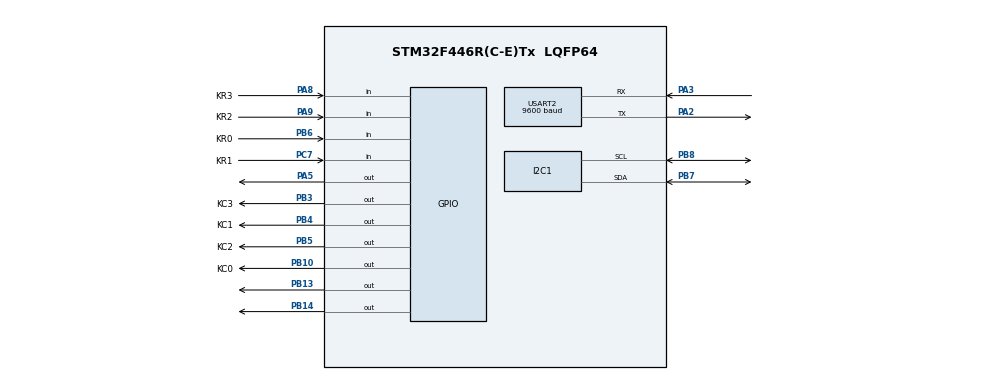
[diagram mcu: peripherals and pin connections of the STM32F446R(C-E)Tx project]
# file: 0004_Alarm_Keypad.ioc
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I2C1.I2C_Mode=I2C_Fast
Mcu.Family=STM32F4
Mcu.Name=STM32F446R(C-E)Tx
Mcu.Package=LQFP64
NVIC.PriorityGroup=NVIC_PRIORITYGROUP_0
NVIC.TIM6_DAC_IRQn=true\:0\:0\:false\:false\:true\:false\:true\:true
NVIC.TimeBase=TIM6_DAC_IRQn
NVIC.TimeBaseIP=TIM6
PA13.Mode=Serial_Wire
PA13.Signal=SYS_JTMS-SWDIO
PA14.Mode=Serial_Wire
PA14.Signal=SYS_JTCK-SWCLK
PA2.Mode=Asynchronous
PA2.Signal=USART2_TX
PA3.Mode=Asynchronous
PA3.Signal=USART2_RX
PA5.Signal=GPIO_Output
PA8.GPIO_Label=KR3
PA8.GPIO_PuPd=GPIO_PULLDOWN
PA8.Signal=GPIO_Input
PA9.GPIO_Label=KR2
PA9.GPIO_PuPd=GPIO_PULLDOWN
PA9.Signal=GPIO_Input
PB10.GPIO_Label=KC0
PB10.Signal=GPIO_Output
PB13.Signal=GPIO_Output
PB14.Signal=GPIO_Output
PB3.GPIO_Label=KC3
PB3.Signal=GPIO_Output
PB4.GPIO_Label=KC1
PB4.Signal=GPIO_Output
PB5.GPIO_Label=KC2
PB5.Signal=GPIO_Output
PB6.GPIO_Label=KR0
PB6.GPIO_PuPd=GPIO_PULLDOWN
PB6.Signal=GPIO_Input
PB7.Mode=I2C
PB7.Signal=I2C1_SDA
PB8.Mode=I2C
PB8.Signal=I2C1_SCL
PC14-OSC32_IN.Mode=LSE-External-Oscillator
PC14-OSC32_IN.Signal=RCC_OSC32_IN
PC15-OSC32_OUT.Mode=LSE-External-Oscillator
PC15-OSC32_OUT.Signal=RCC_OSC32_OUT
PC7.GPIO_Label=KR1
PC7.GPIO_PuPd=GPIO_PULLDOWN
PC7.Signal=GPIO_Input
PH0-OSC_IN.Mode=HSE-External-Oscillator
PH0-OSC_IN.Signal=RCC_OSC_IN
PH1-OSC_OUT.Mode=HSE-External-Oscillator
PH1-OSC_OUT.Signal=RCC_OSC_OUT
ProjectManager.HeapSize=0x200
ProjectManager.StackSize=0x400
ProjectManager.TargetToolchain=STM32CubeIDE
RCC.48MHZClocksFreq_Value=84000000
RCC.AHBFreq_Value=84000000
RCC.APB1CLKDivider=RCC_HCLK_DIV2
RCC.APB1Freq_Value=42000000
RCC.APB1TimFreq_Value=84000000
RCC.APB2Freq_Value=84000000
RCC.APB2TimFreq_Value=84000000
RCC.CortexFreq_Value=84000000
RCC.FLatency-AdvancedSettings=FLASH_LATENCY_2
RCC.HCLKFreq_Value=84000000
RCC.HSE_VALUE=8000000
RCC.HSI_VALUE=16000000
RCC.PLLN=336
RCC.PLLP=RCC_PLLP_DIV4
RCC.SYSCLKFreq_VALUE=84000000
RCC.SYSCLKSource=RCC_SYSCLKSOURCE_PLLCLK
RCC.USBFreq_Value=168000000
RCC.VCOOutputFreq_Value=336000000
USART2.BaudRate=9600
USART2.VirtualMode=VM_ASYNC
VP_SYS_VS_tim6.Mode=TIM6
board=NUCLEO-F446RE

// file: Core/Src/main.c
  /* USER CODE BEGIN Header */
  /**
    ******************************************************************************
    * @file           : main.c
    * @brief          : Main program body
    ******************************************************************************
    * @attention
    *
    * Copyright (c) 2024 STMicroelectronics.
    * All rights reserved.
    *
    * This software is licensed under terms that can be found in the LICENSE file
    * in the root directory of this software component.
    * If no LICENSE file comes with this software, it is provided AS-IS.
    *
    ******************************************************************************
    */
  /* USER CODE END Header */
  /* Includes ------------------------------------------------------------------*/
  #include "main.h"

  /* Private includes ----------------------------------------------------------*/
  /* USER CODE BEGIN Includes */
  #include "Keypad4X4.h"
  #include <stdio.h>
  #include <string.h>
  #include <stdlib.h>
  #include "fonts.h"
  #include "ssd1306.h"
  #include <stdarg.h>

  /* USER CODE END Includes */

  /* Private typedef -----------------------------------------------------------*/

  /* Private define ------------------------------------------------------------*/

  /* Private macro -------------------------------------------------------------*/

  /* Private variables ---------------------------------------------------------*/
  I2C_HandleTypeDef hi2c1;

  UART_HandleTypeDef huart2;

  /* USER CODE BEGIN PV */
  extern char key;
  char key_2;
  char hold[6];
  bool armed = false;
  /* USER CODE END PV */

  /* Private function prototypes -----------------------------------------------*/
  void SystemClock_Config(void);
  static void MX_GPIO_Init(void);
  static void MX_USART2_UART_Init(void);
  static void MX_I2C1_Init(void);

  /* Private user code ---------------------------------------------------------*/

  /**
    * @brief  The application entry point.
    * @retval int
    */

  char* replaceCharsWithAsterisks(const char* input, int size) {
      // Allocate memory for the new array (+1 for the null terminator)
      char* result = (char*)malloc((size + 1) * sizeof(char));
      // Replace each char with an asterisk
      for (int i = 0; i < size; i++) {
          result[i] = '*';
      }

      // Add null terminator at the end
      result[size] = '\0';

      return result;
  }
  int main(void)
  {

    /* MCU Configuration--------------------------------------------------------*/

    /* Reset of all peripherals, Initializes the Flash interface and the Systick. */
    HAL_Init();

    /* Configure the system clock */
    SystemClock_Config();

    /* Initialize all configured peripherals */
    MX_GPIO_Init();
    MX_USART2_UART_Init();
    MX_I2C1_Init();
    /* USER CODE BEGIN 2 */
    /* USER CODE BEGIN 2 */
      SSD1306_Init();
      SSD1306_GotoXY (0,0);
      //SSD1306_Puts ("Voltage:", &Font_11x18, 1);
      SSD1306_Puts ("Enter Code:", &Font_11x18, 1);
      SSD1306_GotoXY (0, 30);
      SSD1306_UpdateScreen();
      SSD1306_UpdateScreen();
      HAL_Delay (500);

    /* USER CODE END 2 */

    /* Infinite loop */
    while (1)
    {

      /* USER CODE BEGIN 3 */
    /* D10 to D7 as input pins for row 0 to row 3. D6 to D3 as output for column pins C1 to C3*/

      // configure code //

      HAL_GPIO_TogglePin(GPIOA, GPIO_PIN_5);

      // counter is used to replace user input with *
      int counter = 0;

      // We initialize the system here and let the user arm the system with his pwd
      // The user can have a pwd of 4 or 6 of length, to check that we make our loop
      // of max length 6
      for(int i = 0; i <= 6; i++){
        // key stores the current input of the user received by Get_Key()
        key = Get_Key();
        counter++;

        // Here we check if the user has finalized entering his pwd
        // -> finished entering pwd : press # and pwd must be of len 4/6 characters
        if(key == '#' && (strlen(hold) == 4 || strlen(hold) == 6)){

          // We update the screen showing successfull arming and arm the system
          SSD1306_GotoXY (0, 30);
          SSD1306_UpdateScreen();
          SSD1306_Puts ("ARME  ", &Font_11x18, 1);
          SSD1306_UpdateScreen();
          HAL_GPIO_WritePin(GPIOB, GPIO_PIN_14, GPIO_PIN_SET);
          armed = true;

          // We update the screen showing successfull arming and arm the system

          break;
        }

        // If the user has not finished entering his pwd
        // -> We print '*' instead of what he has entered as an added security measure
        // We take into account the number of characters he has entered and
        // print the according numbers of stars

        // OR

        // If the input is not of len 4/6 characters and the user has not
        // confirm his entry with the key '#'

        // We enter the 'else' statement

        else{
          // This concatenate what is in the key variable in the hold variable
          strcat(hold, &key);

          SSD1306_GotoXY (0, 30);
          SSD1306_UpdateScreen();

          // Result is what will be shown to the user
          char* result = replaceCharsWithAsterisks(hold,counter);
          SSD1306_Puts (result, &Font_11x18, 1);
          SSD1306_UpdateScreen();
        }
      }

      key_2 = key;

      // NON-ARMÉ
      while(1){

      char temp[6];

      // If the user has successfully armed the system
        if(armed == true){

          // We show that the system is armed by printing ARME on the screen

          counter = 0;
          SSD1306_GotoXY (0, 30);
          SSD1306_Clear();
          SSD1306_UpdateScreen();
          SSD1306_Puts ("ARME", &Font_11x18, 1);
          SSD1306_UpdateScreen();

          // We show that the system is armed by printing ARME on the screen

          HAL_GPIO_TogglePin(GPIOA, GPIO_PIN_5);

          HAL_Delay(1500);

          SSD1306_GotoXY (0, 30);
          SSD1306_Clear();
          SSD1306_UpdateScreen();

          // We clear whatever is in the temp variable and set it basically to NULL
          memset(temp, '\0', sizeof(temp));

          // We check again for user input
          // Here we let the user un-arm the system
          for(int i = 0; i <= 6; i++){

            // This first part let the user enter his pwd that he did, and unarm the system

                key = Get_Key();
                counter++;

                // If the confirmation key ('#') is entered and the
                // pwd is the same as the one previously entered
                // Then we can successfully unarm the system

                if(key == '#'){

                  // the line 0 == strcmp(hold,temp) check if hold and temp are equal
                  // If so strcmp returns 0 which we check and if it is
                  // effectively true, our condition is true !

                  if(0 == strcmp(hold, temp))
                  armed = false;
                  break;
                }
              else if (key == hold[i]){
                // If the confirmation key has not been entered but
                // the key entered by the user is similar to the ith character that
                // he is supposed to enter
                // We concat it and unarm the system

                strcat(temp, &key);
                armed = false;
                SSD1306_GotoXY (0, 30);
                SSD1306_UpdateScreen();
                // We don't forget to replace the actual input with *
                char* result = replaceCharsWithAsterisks(hold,counter);
                SSD1306_Puts (result, &Font_11x18, 1);
                SSD1306_UpdateScreen();

              }
              else {
                // If the entry is not the confirmation key
                // and the entry is not similar to the ith character that
                // he is supposed to enter

                // We just concat it
                strcat(temp, &key);

                SSD1306_GotoXY (0, 30);
                SSD1306_UpdateScreen();
                SSD1306_Puts (temp, &Font_11x18, 1);
                SSD1306_UpdateScreen();
              }
            }

        }

        // If the user has not successfully armed the system before
        // We give him another chance to do so after having the user wait for a small delay
        // We let the user know that the sys was not armed
        // By priting "NON-ARME"

        else {
          SSD1306_GotoXY (0, 30);
          SSD1306_Clear();
          SSD1306_UpdateScreen();
          SSD1306_Puts ("NON-ARME", &Font_11x18, 1);
          SSD1306_UpdateScreen();
          HAL_GPIO_WritePin(GPIOB, GPIO_PIN_13, GPIO_PIN_SET); // green LED
          HAL_GPIO_WritePin(GPIOB, GPIO_PIN_14, GPIO_PIN_RESET); // red LED

          HAL_GPIO_TogglePin(GPIOA, GPIO_PIN_5);

          char temp[6];

          HAL_Delay(1500);

          SSD1306_Clear();
          SSD1306_UpdateScreen();

            memset(temp, '\0', sizeof(temp));
            char star[6];
            char ja = '*';

            // Here we let the user arm the system again using the same method as above

          for(int i = 0; i <= 6; i++){
              key = Get_Key();

              if(key == '#'){
                  if(0 == strcmp(hold, temp))
                armed = true;
                break;
              }
              else{
                strcat(temp, &key);
                SSD1306_GotoXY (0, 30);
                SSD1306_UpdateScreen();

                SSD1306_Puts (temp, &Font_11x18, 1);
                SSD1306_UpdateScreen();
              }
          }
        }

      }

    }
    /* USER CODE END 3 */
  }

  /**
    * @brief System Clock Configuration
    * @retval None
    */
  void SystemClock_Config(void)
  {
    RCC_OscInitTypeDef RCC_OscInitStruct = {0};
    RCC_ClkInitTypeDef RCC_ClkInitStruct = {0};

    /** Configure the main internal regulator output voltage
    */
    __HAL_RCC_PWR_CLK_ENABLE();
    __HAL_PWR_VOLTAGESCALING_CONFIG(PWR_REGULATOR_VOLTAGE_SCALE3);

    /** Initializes the RCC Oscillators according to the specified parameters
    * in the RCC_OscInitTypeDef structure.
    */
    RCC_OscInitStruct.OscillatorType = RCC_OSCILLATORTYPE_HSI;
    RCC_OscInitStruct.HSIState = RCC_HSI_ON;
    RCC_OscInitStruct.HSICalibrationValue = RCC_HSICALIBRATION_DEFAULT;
    RCC_OscInitStruct.PLL.PLLState = RCC_PLL_ON;
    RCC_OscInitStruct.PLL.PLLSource = RCC_PLLSOURCE_HSI;
    RCC_OscInitStruct.PLL.PLLM = 16;
    RCC_OscInitStruct.PLL.PLLN = 336;
    RCC_OscInitStruct.PLL.PLLP = RCC_PLLP_DIV4;
    RCC_OscInitStruct.PLL.PLLQ = 2;
    RCC_OscInitStruct.PLL.PLLR = 2;
    if (HAL_RCC_OscConfig(&RCC_OscInitStruct) != HAL_OK)
    {
      Error_Handler();
    }

    /** Initializes the CPU, AHB and APB buses clocks
    */
    RCC_ClkInitStruct.ClockType = RCC_CLOCKTYPE_HCLK|RCC_CLOCKTYPE_SYSCLK
                                |RCC_CLOCKTYPE_PCLK1|RCC_CLOCKTYPE_PCLK2;
    RCC_ClkInitStruct.SYSCLKSource = RCC_SYSCLKSOURCE_PLLCLK;
    RCC_ClkInitStruct.AHBCLKDivider = RCC_SYSCLK_DIV1;
    RCC_ClkInitStruct.APB1CLKDivider = RCC_HCLK_DIV2;
    RCC_ClkInitStruct.APB2CLKDivider = RCC_HCLK_DIV1;

    if (HAL_RCC_ClockConfig(&RCC_ClkInitStruct, FLASH_LATENCY_2) != HAL_OK)
    {
      Error_Handler();
    }
  }

  /**
    * @brief I2C1 Initialization Function
    * @param None
    * @retval None
    */
  static void MX_I2C1_Init(void)
  {

    hi2c1.Instance = I2C1;
    hi2c1.Init.ClockSpeed = 400000;
    hi2c1.Init.DutyCycle = I2C_DUTYCYCLE_2;
    hi2c1.Init.OwnAddress1 = 0;
    hi2c1.Init.AddressingMode = I2C_ADDRESSINGMODE_7BIT;
    hi2c1.Init.DualAddressMode = I2C_DUALADDRESS_DISABLE;
    hi2c1.Init.OwnAddress2 = 0;
    hi2c1.Init.GeneralCallMode = I2C_GENERALCALL_DISABLE;
    hi2c1.Init.NoStretchMode = I2C_NOSTRETCH_DISABLE;
    if (HAL_I2C_Init(&hi2c1) != HAL_OK)
    {
      Error_Handler();
    }

  }

  /**
    * @brief USART2 Initialization Function
    * @param None
    * @retval None
    */
  static void MX_USART2_UART_Init(void)
  {

    huart2.Instance = USART2;
    huart2.Init.BaudRate = 9600;
    huart2.Init.WordLength = UART_WORDLENGTH_8B;
    huart2.Init.StopBits = UART_STOPBITS_1;
    huart2.Init.Parity = UART_PARITY_NONE;
    huart2.Init.Mode = UART_MODE_TX_RX;
    huart2.Init.HwFlowCtl = UART_HWCONTROL_NONE;
    huart2.Init.OverSampling = UART_OVERSAMPLING_16;
    if (HAL_UART_Init(&huart2) != HAL_OK)
    {
      Error_Handler();
    }

  }

  /**
    * @brief GPIO Initialization Function
    * @param None
    * @retval None
    */
  static void MX_GPIO_Init(void)
  {
    GPIO_InitTypeDef GPIO_InitStruct = {0};

    /* GPIO Ports Clock Enable */
    __HAL_RCC_GPIOC_CLK_ENABLE();
    __HAL_RCC_GPIOH_CLK_ENABLE();
    __HAL_RCC_GPIOA_CLK_ENABLE();
    __HAL_RCC_GPIOB_CLK_ENABLE();

    /*Configure GPIO pin Output Level */
    HAL_GPIO_WritePin(GPIOA, GPIO_PIN_5, GPIO_PIN_RESET);

    /*Configure GPIO pin Output Level */
    HAL_GPIO_WritePin(GPIOB, KC0_Pin|GPIO_PIN_13|GPIO_PIN_14|KC3_Pin
                            |KC1_Pin|KC2_Pin, GPIO_PIN_RESET);

    /*Configure GPIO pin : PA5 */
    GPIO_InitStruct.Pin = GPIO_PIN_5;
    GPIO_InitStruct.Mode = GPIO_MODE_OUTPUT_PP;
    GPIO_InitStruct.Pull = GPIO_NOPULL;
    GPIO_InitStruct.Speed = GPIO_SPEED_FREQ_LOW;
    HAL_GPIO_Init(GPIOA, &GPIO_InitStruct);

    /*Configure GPIO pins : KC0_Pin PB13 PB14 KC3_Pin
                            KC1_Pin KC2_Pin */
    GPIO_InitStruct.Pin = KC0_Pin|GPIO_PIN_13|GPIO_PIN_14|KC3_Pin
                            |KC1_Pin|KC2_Pin;
    GPIO_InitStruct.Mode = GPIO_MODE_OUTPUT_PP;
    GPIO_InitStruct.Pull = GPIO_NOPULL;
    GPIO_InitStruct.Speed = GPIO_SPEED_FREQ_LOW;
    HAL_GPIO_Init(GPIOB, &GPIO_InitStruct);

    /*Configure GPIO pin : KR1_Pin */
    GPIO_InitStruct.Pin = KR1_Pin;
    GPIO_InitStruct.Mode = GPIO_MODE_INPUT;
    GPIO_InitStruct.Pull = GPIO_PULLDOWN;
    HAL_GPIO_Init(KR1_GPIO_Port, &GPIO_InitStruct);

    /*Configure GPIO pins : KR3_Pin KR2_Pin */
    GPIO_InitStruct.Pin = KR3_Pin|KR2_Pin;
    GPIO_InitStruct.Mode = GPIO_MODE_INPUT;
    GPIO_InitStruct.Pull = GPIO_PULLDOWN;
    HAL_GPIO_Init(GPIOA, &GPIO_InitStruct);

    /*Configure GPIO pin : KR0_Pin */
    GPIO_InitStruct.Pin = KR0_Pin;
    GPIO_InitStruct.Mode = GPIO_MODE_INPUT;
    GPIO_InitStruct.Pull = GPIO_PULLDOWN;
    HAL_GPIO_Init(KR0_GPIO_Port, &GPIO_InitStruct);

  }

  /**
    * @brief  Period elapsed callback in non blocking mode
    * @note   This function is called  when TIM6 interrupt took place, inside
    * HAL_TIM_IRQHandler(). It makes a direct call to HAL_IncTick() to increment
    * a global variable "uwTick" used as application time base.
    * @param  htim : TIM handle
    * @retval None
    */
  void HAL_TIM_PeriodElapsedCallback(TIM_HandleTypeDef *htim)
  {
    if (htim->Instance == TIM6) {
      HAL_IncTick();
    }
  }

  /**
    * @brief  This function is executed in case of error occurrence.
    * @retval None
    */
  void Error_Handler(void)
  {
    __disable_irq();
    while (1)
    {
    }
  }

  #ifdef  USE_FULL_ASSERT
  /**
    * @brief  Reports the name of the source file and the source line number
    *         where the assert_param error has occurred.
    * @param  file: pointer to the source file name
    * @param  line: assert_param error line source number
    * @retval None
    */
  void assert_failed(uint8_t *file, uint32_t line)
  {
  }
  #endif /* USE_FULL_ASSERT */
